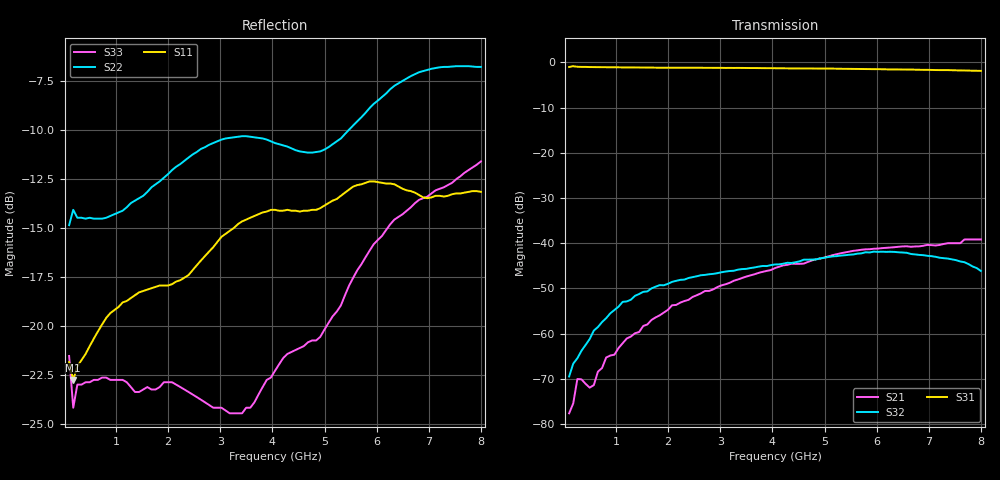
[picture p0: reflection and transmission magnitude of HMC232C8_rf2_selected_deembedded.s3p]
!Hittite Microwave Corporation
!12 Elizabeth Drive
!Chelmsford, MA 01824
!Tel: 978-250-3343
!Fax: 978-250-3373
!Device: HMC232C8, DC - 8 GHz GaAs MMIC High-Isolation SPDT Switch in 8-lead non-hermetic SMT ceramic package
!Misc: Port1=RFC, Port2= RF1, Port3=RF2, RF2 ON, Control: -5VDC
# MHZ S MA R 50
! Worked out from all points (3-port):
!   101 points, 100 MHz to 8 GHz, reference 50 ohm
!   strongest paths, dB at 100 MHz, 2.075 GHz, 4.05 GHz, 6.025 GHz, 8 GHz:
!     S31: -1.0, -1.2, -1.3, -1.5, -1.9
!     S32: -69.5, -48.5, -44.7, -41.9, -46.1
!     S21: -77.6, -53.7, -45.5, -41.2, -39.2
!   lowest |S11| = -22.7 dB at 179 MHz (marker M1), VSWR 1.16, Z = 57.8 + j1.06 ohm
!   |S11| at or under -10 dB: start of sweep to end of sweep
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100  0.081 -5.6  0.0003526 6.6  0.888 -2.5
     0.0001316 34.6  0.181 179.3  0.000284 68.4
     0.887 -2.5  0.000336 78.4  0.084 -7.0
179  0.073 7.2  0.0002952 -7.6  0.908 -5.9
     0.0001693 0.6  0.198 169.7  0.0004074 67.9
     0.906 -5.9  0.0004663 50.1  0.062 7.1
258  0.079 3.3  0.0002716 -37.0  0.895 -7.7
     0.000315 -44.8  0.189 168.5  0.0003942 67.9
     0.892 -7.6  0.0005339 75.1  0.071 -0.0
574  0.093 1.7  0.000317 -137.1  0.888 -16.1
     0.0002699 -127.2  0.188 156.2  0.00101 92.7
     0.885 -16.1  0.001081 91.8  0.073 -2.4
811  0.105 -2.4  0.0004874 -153.7  0.884 -22.3
     0.0005444 -154.4  0.189 145.8  0.001561 91.9
     0.882 -22.3  0.001484 91.3  0.074 -1.1
1364  0.12 -17.1  0.001007 163.8  0.879 -36.9
      0.001011 164.7  0.209 124.6  0.002629 93.3
      0.877 -36.8  0.00262 94.3  0.068 3.7
2707  0.151 -46.0  0.002894 121.4  0.872 -72.0
      0.002964 122.3  0.286 90.7  0.004426 86.0
      0.869 -72.0  0.004462 86.2  0.064 34.1
4050  0.198 -108.1  0.005293 88.8  0.862 -107.9
      0.00531 90.0  0.293 69.2  0.005809 63.2
      0.86 -107.9  0.005819 63.7  0.077 83.7
6104  0.232 -142.4  0.008864 41.4  0.84 -163.8
      0.008823 41.2  0.384 5.0  0.008035 40.1
      0.838 -163.7  0.008055 40.2  0.17 0.8
8000  0.22 126.2  0.011 16.5  0.805 141.9
      0.011 16.6  0.458 -14.6  0.004868 27.0
      0.804 142.0  0.004931 25.6  0.263 2.6
